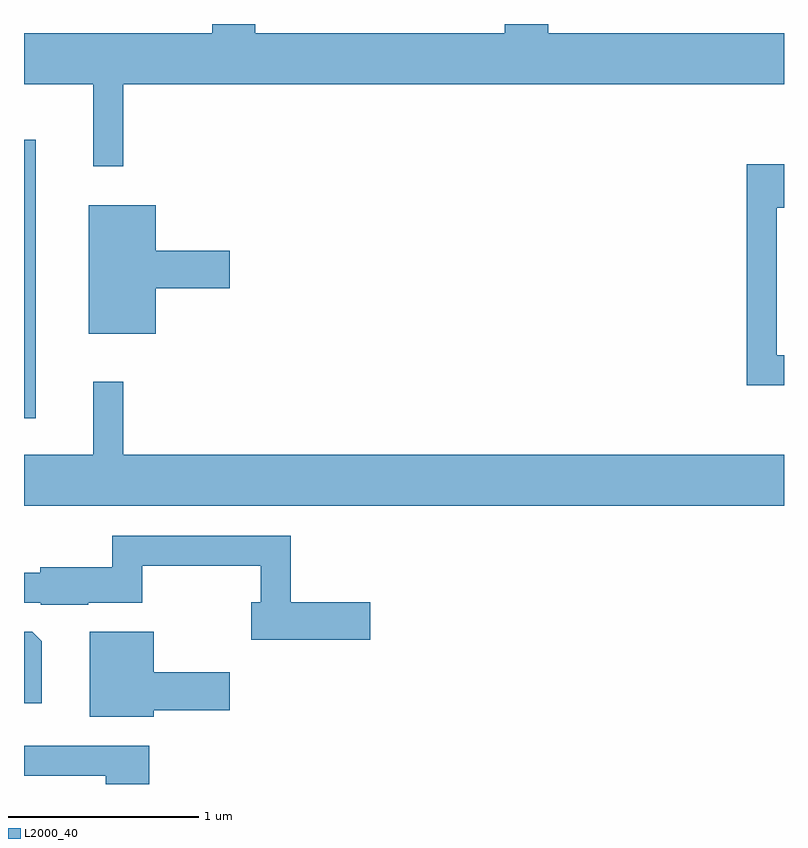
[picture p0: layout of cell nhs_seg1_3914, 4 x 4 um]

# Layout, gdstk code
import gdstk
lib = gdstk.Library(unit=1e-6, precision=1e-09)
def R(c, l, rs):  # rectangles x0, y0, x1, y1
    for r in rs: c.add(gdstk.rectangle(r[:2], r[2:], *l))
def P(c, l, *ps):  # polygons
    for p in ps: c.add(gdstk.Polygon(p, *l))
L2000_40 = (2000, 40)

nhs_seg1_3914 = lib.new_cell('nhs_seg1_3914')
R(nhs_seg1_3914, L2000_40, [(303.611,855.638,303.674,857.104)])
P(nhs_seg1_3914, L2000_40, [(304.134,857.396),(307.611,857.396),(307.611,857.664),(306.369,857.664),(306.369,857.712),(306.141,857.712),(306.141,857.664),(304.829,857.664),(304.829,857.712),(304.601,857.712),(304.601,857.664),(303.611,857.664),(303.611,857.396),(303.976,857.396),(303.976,856.963),(304.134,856.963)],
  [(307.611,855.969),(307.574,855.969),(307.574,856.746),(307.611,856.746),(307.611,856.974),(307.416,856.974),(307.416,855.811),(307.611,855.811)],
  [(304.304,856.321),(304.694,856.321),(304.694,856.519),(304.304,856.519),(304.304,856.759),(303.951,856.759),(303.951,856.081),(304.304,856.081)],
  [(307.611,855.444),(304.134,855.444),(304.134,855.828),(303.976,855.828),(303.976,855.444),(303.611,855.444),(303.611,855.176),(307.611,855.176)],
  [(305.434,854.669),(305.014,854.669),(305.014,855.019),(304.076,855.019),(304.076,854.854),(303.696,854.854),(303.696,854.824),(303.611,854.824),(303.611,854.666),(303.7,854.666),(303.7,854.656),(303.95,854.656),(303.95,854.666),(304.234,854.666),(304.234,854.861),(304.856,854.861),(304.856,854.669),(304.806,854.669),(304.806,854.471),(305.434,854.471)],
  [(303.704,854.464),(303.654,854.514),(303.611,854.514),(303.611,854.136),(303.704,854.136)],
  [(304.294,854.101),(304.694,854.101),(304.694,854.299),(304.294,854.299),(304.294,854.514),(303.956,854.514),(303.956,854.066),(304.294,854.066)],
  [(304.269,853.914),(303.611,853.914),(303.611,853.756),(304.041,853.756),(304.041,853.712),(304.269,853.712)])

lib.write_gds('nhs_seg1_3914.gds')
